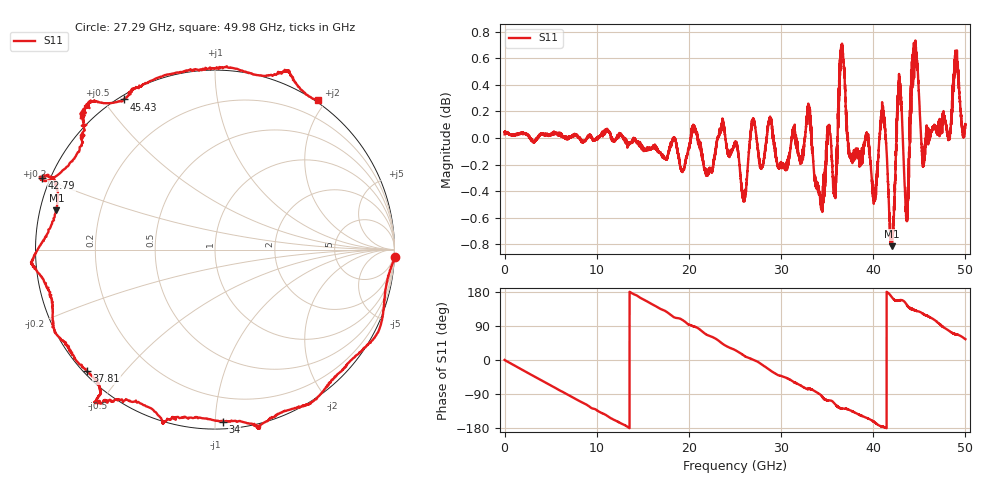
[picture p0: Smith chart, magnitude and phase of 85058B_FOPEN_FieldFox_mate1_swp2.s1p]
!Created with skrf (http://scikit-rf.org).
# Hz S RI R 50.0
!freq ReS11 ImS11
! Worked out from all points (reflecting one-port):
!   10001 points, 300 kHz to 50 GHz, reference 50 ohm
!   lowest |S11| = -0.8 dB at 42.01 GHz (marker M1), VSWR 21.39, Z = 2.37 + j6.1 ohm
!   phase of S11 starts at 0 deg and turns -665 deg over the sweep
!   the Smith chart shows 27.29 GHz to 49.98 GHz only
!   S11 on the Smith chart (normalised r, x): 27.29 GHz: -3, -47; 34 GHz: 0.04, -1.05; 37.81 GHz: 0.01, -0.40; 42.79 GHz: -0.02, +0.20; 45.43 GHz: 0.01, +0.56; 49.98 GHz: -0.03, +1.91
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300000  1.003 0.0021
2.605284e9  0.8186 -0.5773
6.250262e9  0.1138 -0.9954
8.940246e9  -0.4789 -0.8782
1.250022e10  -0.9721 -0.2496
1.551021e10  -0.8897 0.436
1.875019e10  -0.351 0.9245
2.112017e10  0.1422 0.9825
2.369516e10  0.7535 0.6805
2.500015e10  0.8918 0.4413
2.729014e10  1.002 -0.0421
2.909513e10  0.8568 -0.5282
3.125011e10  0.559 -0.835
3.28851e10  0.2363 -0.9923
3.40001e10  0.0445 -0.9591
3.641508e10  -0.6468 -0.8397
3.750008e10  -0.6684 -0.7215
3.781007e10  -0.7143 -0.6755
4.092005e10  -1.019 -0.0812
4.201005e10  -0.8839 0.2193
4.278504e10  -0.9646 0.3991
4.329004e10  -0.8968 0.402
4.375004e10  -0.7466 0.5894
4.444003e10  -0.7074 0.8059
4.543003e10  -0.5088 0.8365
4.756501e10  0.0438 1.015
4.998e10  0.5755 0.832
5e10  0.5811 0.8287
